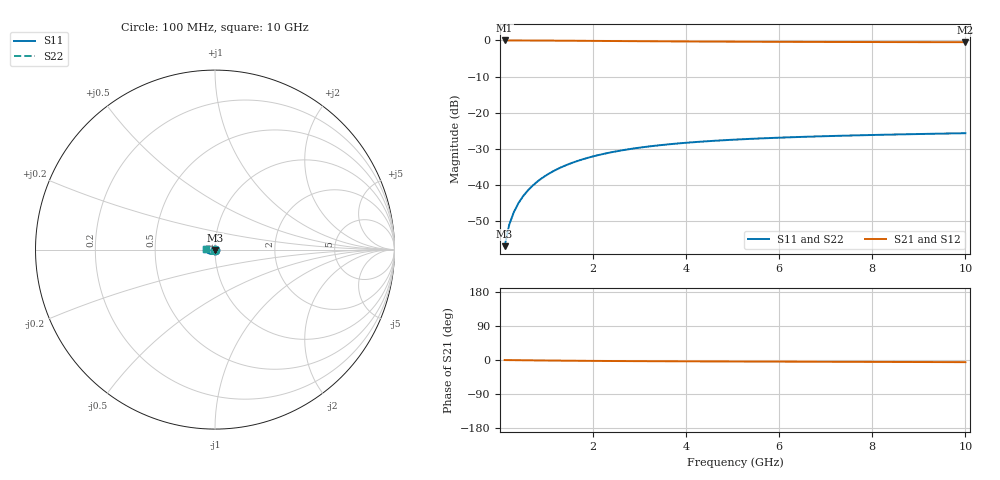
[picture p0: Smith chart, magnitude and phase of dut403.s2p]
! Touchstone file exported from HFSS 2024.1.0
!  File:  C:/UserFiles/LocalFiles/RDL_TSV_Batchsim/temp_TSV1_403_1779691617.aedt
!  Generated:  02:52:44 PM May 25, 2026
!  Design:  TSV1
!  Project:  temp_TSV1_403_1779691617
!  Setup:  Setup1
!  Solution:  Sweep
! Variables:
!  dtsv = 10.4um
!  hbump = 3um
!  htsv = 89.46um
!  lrdl = 252.1521522um
!  p = 40
!  p1 = 50.72um
!  t = 500um
!  trdl = 3um
!  wrdl = 24.89489489um
# GHz S MA R 50.000000
! Terminal data exported
! Port[1] = TSV22_T1
! Port[2] = TSV22_T2
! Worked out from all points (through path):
!   100 points, 100 MHz to 10 GHz, reference 50 ohm
!   highest |S21| = 0.00 dB at 100 MHz (marker M1); lowest = -0.5 dB at 10 GHz (marker M2)
!   lowest |S11| = -57.0 dB at 100 MHz (marker M3), VSWR 1.00, Z = 50 - j0.14 ohm
!   |S11| at or under -10 dB: start of sweep to end of sweep
!   |S22| runs from -57.0 to -25.7 dB; largest |S21 - S12| = 8.7e-15
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0.1  0.001405 -85.9  0.9998 -0.1  0.9998 -0.1  0.001405 -85.9
! Gamma 0 0 0 0
! Port Impedance 50 0 50 0
0.2  0.0028 -90.5  0.9997 -0.3  0.9997 -0.3  0.0028 -90.5
0.3  0.004195 -93.2  0.9994 -0.4  0.9994 -0.4  0.004195 -93.2
0.4  0.005585 -95.5  0.9991 -0.6  0.9991 -0.6  0.005585 -95.5
0.5  0.006965 -97.5  0.9987 -0.7  0.9987 -0.7  0.006965 -97.5
0.6  0.00833 -99.5  0.9982 -0.8  0.9982 -0.8  0.00833 -99.5
0.7  0.009679 -101.4  0.9977 -0.9  0.9977 -0.9  0.009679 -101.4
0.8  0.01101 -103.3  0.997 -1.1  0.997 -1.1  0.01101 -103.3
0.9  0.01231 -105.1  0.9964 -1.2  0.9964 -1.2  0.01231 -105.1
1.1  0.01484 -108.6  0.9948 -1.4  0.9948 -1.4  0.01484 -108.6
1.4  0.01841 -113.7  0.9922 -1.8  0.9922 -1.8  0.01841 -113.7
1.6  0.02063 -116.9  0.9903 -2.0  0.9903 -2.0  0.02063 -116.9
1.8  0.02272 -119.9  0.9883 -2.2  0.9883 -2.2  0.02272 -119.9
2.1  0.02561 -124.3  0.9853 -2.4  0.9853 -2.4  0.02561 -124.3
2.5  0.02902 -129.7  0.9813 -2.7  0.9813 -2.7  0.02902 -129.7
2.9  0.03196 -134.6  0.9774 -3.0  0.9774 -3.0  0.03196 -134.6
3.4  0.03507 -140.1  0.9729 -3.3  0.9729 -3.3  0.03507 -140.1
4.2  0.03901 -147.7  0.9668 -3.6  0.9668 -3.6  0.03901 -147.7
5.1  0.04233 -154.9  0.9613 -4.0  0.9613 -4.0  0.04233 -154.9
6.7  0.04647 -165.2  0.9543 -4.5  0.9543 -4.5  0.04647 -165.2
8.4  0.04953 -174.0  0.9494 -5.1  0.9494 -5.1  0.04953 -174.0
10  0.05177 179.2  0.9463 -5.7  0.9463 -5.7  0.05176 179.2
